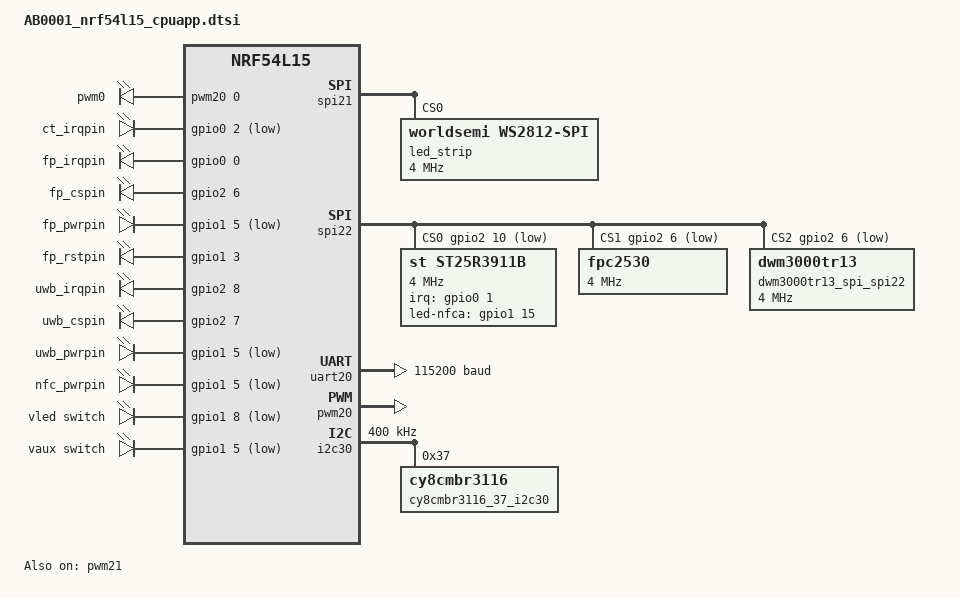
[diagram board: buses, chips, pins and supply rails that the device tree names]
#include "AB0001_nrf54l15-pinctrl.dtsi"
#include <zephyr/dt-bindings/led/led.h>


// SPI Instance for digital LED's
&spi21 {
	compatible = "nordic,nrf-spim";
	status = "okay";
	pinctrl-0 = <&spi21_default>;
	pinctrl-1 = <&spi21_sleep>;
	pinctrl-names = "default", "sleep";
	
	led_strip: ws2812@0 {
		compatible = "worldsemi,ws2812-spi";
		/* SPI */
		reg = <0>; /* ignored, but necessary for SPI bindings */
		
		/* WS2812 */
		color-mapping = <LED_COLOR_ID_GREEN
						LED_COLOR_ID_RED
						LED_COLOR_ID_BLUE>;
		chain-length = <15>; /* 12 + 1 + 2 */
		spi-max-frequency = <4000000>;
		spi-one-frame = <0x70>;
		spi-zero-frame = <0x40>;
	};
};

// SPI Instance for Fingerprint, NFC Reader, UWB Chip
&spi22 {
	compatible = "nordic,nrf-spim";
	status = "okay";
	cs-gpios = 	<&gpio2 10 GPIO_ACTIVE_LOW>, 
				<&gpio2 6 GPIO_ACTIVE_LOW>,
				<&gpio2 6 GPIO_ACTIVE_LOW>;
	pinctrl-0 = <&spi22_default>;
	pinctrl-1 = <&spi22_sleep>;
	pinctrl-names = "default", "sleep";

	//NFC Reader
	st25r3911b: st25r3911b@0 {
		compatible = "st,st25r3911b";
		reg = <0>; //CS 0
		spi-max-frequency = <4000000>;
		irq-gpios = <&gpio0 1 GPIO_ACTIVE_HIGH>;
		led-nfca-gpios = <&gpio1 15 GPIO_ACTIVE_HIGH>; //not used
	};

	//Fingerprint Module
	fpc2530: fpc2530@1 {
		//compatible = "vnd,fpc2530";		
		reg = <1>; //CS 1
		spi-max-frequency = <4000000>;
	};

    //UWB Transmitter Receiver
	dwm3000tr13_spi_spi22: dwm3000tr13@2 {
		//compatible =  "vnd,dwm3000";
		reg = <2>; //CS 2
		spi-max-frequency = <4000000>;		
	};
};

// system monitor
&uart20 {
	current-speed = <115200>;
	pinctrl-0 = <&uart20_default>;
	pinctrl-1 = <&uart20_sleep>;
	pinctrl-names = "default", "sleep";
};

// pwm buzzer
/{
	pwmbuzzer {
		compatible = "pwm-leds";
		pwm0: pwm_0 {
			pwms = <&pwm20 0 PWM_MSEC(20) PWM_POLARITY_INVERTED>;
		};
	};
};

&pwm20 {	
	status = "okay";
	pinctrl-0 = <&pwm20_default>;
	pinctrl-1 = <&pwm20_sleep>;
	pinctrl-names = "default", "sleep";	
};

// pwm vibrationsmotor
&pwm21 {
	compatible = "pwm-leds";
	status = "okay";
	pinctrl-0 = <&pwm21_default>;
	pinctrl-1 = <&pwm21_sleep>;
	pinctrl-names = "default", "sleep";	
};


// cap touch feld
&i2c30 {
	compatible = "nordic,nrf-twim";
	status = "okay";
	clock-frequency = <I2C_BITRATE_FAST>;
	pinctrl-0 = <&i2c30_default>;
	pinctrl-1 = <&i2c30_sleep>;
	zephyr,concat-buf-size = <256>;	
	pinctrl-names = "default", "sleep";

	cy8cmbr3116_37_i2c30: cy8cmbr3116@37 {
        //compatible = "infineon,cy8";   // Specify device bindings/driver
        reg = <0x37>; 	// I2C address
        status = "okay"; 		
		config = [
        		FB 7F F8 7F 00 00 00 00
        		80 AA AA 2A 1F 1F 7F 64
        		64 64 64 64 64 64 64 64
        		64 64 64 7F 03 00 00 00
        		00 00 00 00 00 00 03 83
        		05 00 00 04 00 04 00 00
        		00 00 00 00 00 0F 0F 00
        		00 0F 0F 00 00 00 81 01
        		00 FF FF FF FF FF FF FF
        		FF 00 00 00 43 03 01 50
        		00 37 02 00 00 0A 00 00
        		00 00 00 00 00 00 00 00
        		00 00 00 00 00 00 00 00
        		00 00 00 00 00 00 00 00
        		00 00 00 00 00 00 00 00
        		00 00 00 00 00 00 5C 6C
		];				
    };
};

//use nfc pins as gpios
&uicr {
    nfct-pins-as-gpios;
};

//use adc
&adc {
	compatible = "vnd,adc-battery-measurement";
	en-gpios = <&gpio0 1 GPIO_ACTIVE_HIGH>;
	voltage_div = <55>; //div = 55/10 = 5.5 (float not supported)	  
};

/ {
	// used to get the node ID's with DT Macro
	aliases {
		led-strip = &led_strip;
		// vsw0 = &vsw0; //LED Versorgung
		// vsw1 = &vsw1; //NFC + FPC + UWB
		pwm0 = &pwm0;
		//isr1 = &isr1;
		cy8cmbr3116 = &cy8cmbr3116_37_i2c30;  //muss so heißen
		
		//irqpin = &irqpin;
		//cspin = &cspin;
		//pwrpin = &pwrpin;
		//rstpin = &rstpin;
	};
};

/ {
	captouch_sensor_pins {
		compatible = "gpio-leds";
		ct_irqpin: irq {
			gpios = <&gpio0 2 (GPIO_ACTIVE_LOW | GPIO_PULL_UP)>;
		};		
	};
};

/ {
	fingerprint_sensor_pins {
		compatible = "gpio-leds";
		fp_irqpin: irq {
			gpios = <&gpio0 0 GPIO_ACTIVE_HIGH>;
		};
		fp_cspin: cs {
			gpios = <&gpio2 6 GPIO_ACTIVE_HIGH>;
		};
		fp_pwrpin: pwr {
			gpios = <&gpio1 5 GPIO_ACTIVE_LOW>;
		};
		fp_rstpin: rst {
			gpios = <&gpio1 3 GPIO_ACTIVE_HIGH>;
		};		
	};
};

/ {
	uwb_transceiver_pins {
		compatible = "gpio-leds";
		uwb_irqpin: irq {
			gpios = <&gpio2 8 GPIO_ACTIVE_HIGH>;
		};
		uwb_cspin: cs {
			gpios = <&gpio2 7 GPIO_ACTIVE_HIGH>;
		};
		uwb_pwrpin: pwr {
			gpios = <&gpio1 5 GPIO_ACTIVE_LOW>;
		};		
	};
};

/ {
	nfc_reader_pins {
		compatible = "gpio-leds";		
		nfc_pwrpin: pwr {
			gpios = <&gpio1 5 GPIO_ACTIVE_LOW>;
		};		
	};
};

/ {powersupply_control_pins {
		compatible = "gpio-leds";
		vsw0: vsw_0 {
			gpios = <&gpio1 8 GPIO_ACTIVE_LOW>;
			label = "vled switch";
	};
		vsw1: vsw_1 {
			gpios = <&gpio1 5 GPIO_ACTIVE_LOW>;
			label = "vaux switch";
		};
	};
};

